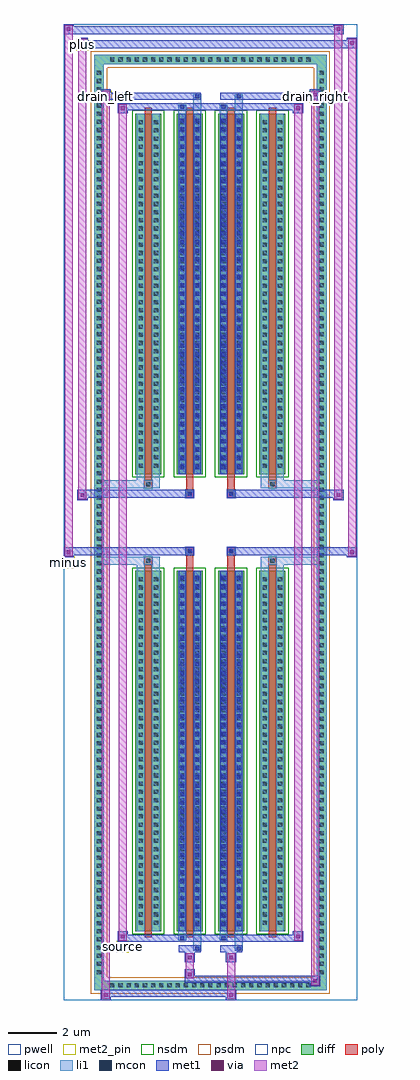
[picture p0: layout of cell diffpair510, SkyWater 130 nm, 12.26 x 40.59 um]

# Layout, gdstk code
import gdstk
lib = gdstk.Library(unit=1e-6, precision=5e-09)
def R(c, l, rs):  # rectangles x0, y0, x1, y1
    for r in rs: c.add(gdstk.rectangle(r[:2], r[2:], *l))
def A(c, l, x, y, w, h, nx, ny, dx, dy):  # array of equal rectangles
    R(c, l, [(x+i*dx, y+j*dy, x+i*dx+w, y+j*dy+h) for i in range(nx) for j in range(ny)])
def P(c, l, *ps):  # polygons
    for p in ps: c.add(gdstk.Polygon(p, *l))
pwell = (64, 44)
diff = (65, 20)
poly = (66, 20)
licon = (66, 44)
li1 = (67, 20)
mcon = (67, 44)
met1 = (68, 20)
via = (68, 44)
met2_pin = (69, 16)
met2 = (69, 20)
nsdm = (93, 44)
psdm = (94, 20)
npc = (95, 20)

diffpair510 = lib.new_cell('diffpair510')
R(diffpair510, pwell, [(-6.11,-19.86,6.11,20.73), (-3.43,-18.05,-0.01,-0.825), (0.01,-18.05,3.43,-0.825), (-3.43,0.825,-0.01,18.05), (0.01,0.825,3.43,18.05)])
A(diffpair510, diff, -4.285, -19.46, 0.41, 0.41, 25, 2, 0.34, 38.51)
A(diffpair510, diff, -4.84, -18.905, 0.41, 0.41, 1, 111, 0, 0.34)
A(diffpair510, diff, 4.43, -18.905, 0.41, 0.41, 1, 111, 0, 0.34)
A(diffpair510, diff, -3.12, -17.005, 1.08, 15, 4, 2, 1.72, 19.01)
R(diffpair510, diff, [(-4.285,-19.46,4.285,-19.05), (-4.84,-18.905,-4.43,18.905), (4.43,-18.905,4.84,18.905), (-4.285,19.05,4.285,19.46)])
P(diffpair510, diff, [(4.84,19.46),(-4.84,19.46),(-4.84,-19.05),(-4.43,-19.05),(-4.43,19.05),(4.43,19.05),(4.43,-19.05),(-4.43,-19.05),(-4.84,-19.05),(-4.84,-19.46),(4.84,-19.46)])
A(diffpair510, poly, -2.73, -17.255, 0.3, 15.5, 4, 2, 1.72, 19.01)
R(diffpair510, poly, [(-2.745,-1.755,-2.415,-1.425), (-2.745,-1.755,-2.415,-1.425), (-1.01,-1.755,-0.71,-1.355), (0.71,-1.755,1.01,-1.355), (2.415,-1.755,2.745,-1.425), (2.415,-1.755,2.745,-1.425), (-1.025,-1.355,-0.695,-1.025), (-1.025,-1.355,-0.695,-1.025), (0.695,-1.355,1.025,-1.025), (0.695,-1.355,1.025,-1.025), (-1.025,1.025,-0.695,1.355), (-1.025,1.025,-0.695,1.355), (0.695,1.025,1.025,1.355), (0.695,1.025,1.025,1.355), (-1.01,1.355,-0.71,1.755), (0.71,1.355,1.01,1.755), (-2.745,1.425,-2.415,1.755), (-2.745,1.425,-2.415,1.755), (2.415,1.425,2.745,1.755), (2.415,1.425,2.745,1.755)])
A(diffpair510, licon, -4.165, -19.34, 0.17, 0.17, 25, 2, 0.34, 38.51)
A(diffpair510, licon, -4.72, -18.785, 0.17, 0.17, 1, 111, 0, 0.34)
A(diffpair510, licon, 4.55, -18.785, 0.17, 0.17, 1, 111, 0, 0.34)
A(diffpair510, licon, -2.98, -16.73, 0.17, 0.17, 1, 43, 0, 0.34)
A(diffpair510, licon, -2.35, -16.73, 0.17, 0.17, 1, 43, 0, 0.34)
A(diffpair510, licon, -1.26, -16.73, 0.17, 0.17, 1, 43, 0, 0.34)
A(diffpair510, licon, -0.63, -16.73, 0.17, 0.17, 1, 43, 0, 0.34)
A(diffpair510, licon, 0.46, -16.73, 0.17, 0.17, 1, 43, 0, 0.34)
A(diffpair510, licon, 1.09, -16.73, 0.17, 0.17, 1, 43, 0, 0.34)
A(diffpair510, licon, 2.18, -16.73, 0.17, 0.17, 1, 43, 0, 0.34)
A(diffpair510, licon, 2.81, -16.73, 0.17, 0.17, 1, 43, 0, 0.34)
A(diffpair510, licon, -2.98, 2.28, 0.17, 0.17, 1, 43, 0, 0.34)
A(diffpair510, licon, -2.35, 2.28, 0.17, 0.17, 1, 43, 0, 0.34)
A(diffpair510, licon, -1.26, 2.28, 0.17, 0.17, 1, 43, 0, 0.34)
A(diffpair510, licon, -0.63, 2.28, 0.17, 0.17, 1, 43, 0, 0.34)
A(diffpair510, licon, 0.46, 2.28, 0.17, 0.17, 1, 43, 0, 0.34)
A(diffpair510, licon, 1.09, 2.28, 0.17, 0.17, 1, 43, 0, 0.34)
A(diffpair510, licon, 2.18, 2.28, 0.17, 0.17, 1, 43, 0, 0.34)
A(diffpair510, licon, 2.81, 2.28, 0.17, 0.17, 1, 43, 0, 0.34)
R(diffpair510, licon, [(-2.665,-1.675,-2.495,-1.505), (2.495,-1.675,2.665,-1.505), (-0.945,-1.275,-0.775,-1.105), (0.775,-1.275,0.945,-1.105), (-0.945,1.105,-0.775,1.275), (0.775,1.105,0.945,1.275), (-2.665,1.505,-2.495,1.675), (2.495,1.505,2.665,1.675)])
A(diffpair510, li1, -4.245, -19.42, 0.33, 0.33, 25, 2, 0.34, 38.51)
A(diffpair510, li1, -4.8, -18.865, 0.33, 0.33, 1, 111, 0, 0.34)
A(diffpair510, li1, 4.47, -18.865, 0.33, 0.33, 1, 111, 0, 0.34)
A(diffpair510, li1, -3.06, -16.81, 0.33, 0.33, 1, 43, 0, 0.34)
A(diffpair510, li1, -2.43, -16.81, 0.33, 0.33, 1, 43, 0, 0.34)
A(diffpair510, li1, -1.34, -16.81, 0.33, 0.33, 1, 43, 0, 0.34)
A(diffpair510, li1, -0.71, -16.81, 0.33, 0.33, 1, 43, 0, 0.34)
A(diffpair510, li1, 0.38, -16.81, 0.33, 0.33, 1, 43, 0, 0.34)
A(diffpair510, li1, 1.01, -16.81, 0.33, 0.33, 1, 43, 0, 0.34)
A(diffpair510, li1, 2.1, -16.81, 0.33, 0.33, 1, 43, 0, 0.34)
A(diffpair510, li1, 2.73, -16.81, 0.33, 0.33, 1, 43, 0, 0.34)
A(diffpair510, li1, -1.26, -16.79, 0.17, 0.17, 1, 41, 0, 0.36)
A(diffpair510, li1, -0.63, -16.79, 0.17, 0.17, 1, 41, 0, 0.36)
A(diffpair510, li1, 0.46, -16.79, 0.17, 0.17, 1, 41, 0, 0.36)
A(diffpair510, li1, 1.09, -16.79, 0.17, 0.17, 1, 41, 0, 0.36)
A(diffpair510, li1, -3.06, 2.2, 0.33, 0.33, 1, 43, 0, 0.34)
A(diffpair510, li1, -2.43, 2.2, 0.33, 0.33, 1, 43, 0, 0.34)
A(diffpair510, li1, -1.34, 2.2, 0.33, 0.33, 1, 43, 0, 0.34)
A(diffpair510, li1, -0.71, 2.2, 0.33, 0.33, 1, 43, 0, 0.34)
A(diffpair510, li1, 0.38, 2.2, 0.33, 0.33, 1, 43, 0, 0.34)
A(diffpair510, li1, 1.01, 2.2, 0.33, 0.33, 1, 43, 0, 0.34)
A(diffpair510, li1, 2.1, 2.2, 0.33, 0.33, 1, 43, 0, 0.34)
A(diffpair510, li1, 2.73, 2.2, 0.33, 0.33, 1, 43, 0, 0.34)
A(diffpair510, li1, -1.26, 2.22, 0.17, 0.17, 1, 41, 0, 0.36)
A(diffpair510, li1, -0.63, 2.22, 0.17, 0.17, 1, 41, 0, 0.36)
A(diffpair510, li1, 0.46, 2.22, 0.17, 0.17, 1, 41, 0, 0.36)
A(diffpair510, li1, 1.09, 2.22, 0.17, 0.17, 1, 41, 0, 0.36)
R(diffpair510, li1, [(-4.84,-19.46,-4.43,-19.05), (-4.84,-19.46,-4.43,-19.05), (-4.43,-19.46,4.43,-19.05), (4.43,-19.46,4.84,-19.05), (4.43,-19.46,4.84,-19.05), (-4.84,-19.05,-4.43,19.05), (4.43,-19.05,4.84,19.05), (-0.71,-17.81,-0.38,-17.005), (-0.63,-17.81,-0.46,-17.64), (1.01,-17.81,1.34,-17.005), (1.09,-17.81,1.26,-17.64), (-1.34,-17.38,-1.01,-17.005), (-1.26,-17.38,-1.09,-17.21), (0.38,-17.38,0.71,-17.005), (0.46,-17.38,0.63,-17.21), (-3.06,-17.005,-2.73,-2.005), (-2.43,-17.005,-2.1,-2.005), (-1.34,-17.005,-1.01,-2.005), (-0.71,-17.005,-0.38,-2.005), (0.38,-17.005,0.71,-2.005), (1.01,-17.005,1.34,-2.005), (2.1,-17.005,2.43,-2.005), (2.73,-17.005,3.06,-2.005), (-1.26,-16.79,-1.09,-2.22), (-0.63,-16.79,-0.46,-2.22), (0.46,-16.79,0.63,-2.22), (1.09,-16.79,1.26,-2.22), (-3.06,-2.005,-2.73,-1.425), (-2.43,-2.005,-2.1,-1.425), (2.1,-2.005,2.43,-1.425), (2.73,-2.005,3.06,-1.425), (-4.84,-1.755,-2.745,-1.425), (-3.06,-1.755,-2.745,-1.425), (-2.745,-1.755,-2.415,-1.425), (-2.415,-1.755,-2.1,-1.425), (2.1,-1.755,2.415,-1.425), (2.415,-1.755,2.745,-1.425), (2.415,-1.755,4.84,-1.425), (2.745,-1.755,3.06,-1.425), (-1.025,-1.355,-0.695,-1.025), (0.695,-1.355,1.025,-1.025), (-1.025,1.025,-0.695,1.355), (0.695,1.025,1.025,1.355), (-4.84,1.425,-2.745,1.755), (-3.06,1.425,-2.745,1.755), (-3.06,1.425,-2.73,2.005), (-2.745,1.425,-2.415,1.755), (-2.43,1.425,-2.1,2.005), (-2.415,1.425,-2.1,1.755), (2.1,1.425,2.415,1.755), (2.1,1.425,2.43,2.005), (2.415,1.425,2.745,1.755), (2.415,1.425,4.84,1.755), (2.73,1.425,3.06,2.005), (2.745,1.425,3.06,1.755), (-3.06,2.005,-2.73,17.005), (-2.43,2.005,-2.1,17.005), (-1.34,2.005,-1.01,17.005), (-0.71,2.005,-0.38,17.005), (0.38,2.005,0.71,17.005), (1.01,2.005,1.34,17.005), (2.1,2.005,2.43,17.005), (2.73,2.005,3.06,17.005), (-1.26,2.22,-1.09,16.79), (-0.63,2.22,-0.46,16.79), (0.46,2.22,0.63,16.79), (1.09,2.22,1.26,16.79), (-1.34,17.005,-1.01,17.38), (-0.71,17.005,-0.38,17.81), (0.38,17.005,0.71,17.38), (1.01,17.005,1.34,17.81), (-1.26,17.21,-1.09,17.38), (0.46,17.21,0.63,17.38), (-0.63,17.64,-0.46,17.81), (1.09,17.64,1.26,17.81), (-4.84,19.05,-4.43,19.46), (-4.84,19.05,-4.43,19.46), (-4.43,19.05,4.43,19.46), (4.43,19.05,4.84,19.46), (4.43,19.05,4.84,19.46)])
A(diffpair510, mcon, -1.26, -16.79, 0.17, 0.17, 1, 41, 0, 0.36)
A(diffpair510, mcon, -0.63, -16.79, 0.17, 0.17, 1, 41, 0, 0.36)
A(diffpair510, mcon, 0.46, -16.79, 0.17, 0.17, 1, 41, 0, 0.36)
A(diffpair510, mcon, 1.09, -16.79, 0.17, 0.17, 1, 41, 0, 0.36)
A(diffpair510, mcon, -1.26, 2.22, 0.17, 0.17, 1, 41, 0, 0.36)
A(diffpair510, mcon, -0.63, 2.22, 0.17, 0.17, 1, 41, 0, 0.36)
A(diffpair510, mcon, 0.46, 2.22, 0.17, 0.17, 1, 41, 0, 0.36)
A(diffpair510, mcon, 1.09, 2.22, 0.17, 0.17, 1, 41, 0, 0.36)
R(diffpair510, mcon, [(-0.63,-17.81,-0.46,-17.64), (1.09,-17.81,1.26,-17.64), (-1.26,-17.38,-1.09,-17.21), (0.46,-17.38,0.63,-17.21), (-0.945,-1.275,-0.775,-1.105), (0.775,-1.275,0.945,-1.105), (-0.945,1.105,-0.775,1.275), (0.775,1.105,0.945,1.275), (-1.26,17.21,-1.09,17.38), (0.46,17.21,0.63,17.38), (-0.63,17.64,-0.46,17.81), (1.09,17.64,1.26,17.81)])
A(diffpair510, met1, -1.32, -16.85, 0.29, 0.29, 1, 41, 0, 0.36)
A(diffpair510, met1, -0.69, -16.85, 0.29, 0.29, 1, 41, 0, 0.36)
A(diffpair510, met1, 0.4, -16.85, 0.29, 0.29, 1, 41, 0, 0.36)
A(diffpair510, met1, 1.03, -16.85, 0.29, 0.29, 1, 41, 0, 0.36)
A(diffpair510, met1, -1.32, 2.16, 0.29, 0.29, 1, 41, 0, 0.36)
A(diffpair510, met1, -0.69, 2.16, 0.29, 0.29, 1, 41, 0, 0.36)
A(diffpair510, met1, 0.4, 2.16, 0.29, 0.29, 1, 41, 0, 0.36)
A(diffpair510, met1, 1.03, 2.16, 0.29, 0.29, 1, 41, 0, 0.36)
R(diffpair510, met1, [(-4.57,-19.86,-4.14,-19.43), (0.645,-19.86,1.075,-19.43), (-4.57,-19.72,1.075,-19.43), (4.14,-19.29,4.57,-18.86), (-1.075,-19.15,4.57,-18.86), (-1.075,-19.01,-0.645,-18.58), (-1.075,-18.3,-0.645,-17.87), (0.645,-18.3,1.075,-17.87), (-1.32,-17.87,-0.4,-17.58), (-0.69,-17.87,-0.4,-17.58), (0.4,-17.87,1.32,-17.58), (1.03,-17.87,1.32,-17.58), (-3.86,-17.44,-3.43,-17.01), (-3.86,-17.44,-1.32,-17.15), (-1.32,-17.44,-1.03,-17.15), (-1.32,-17.44,-0.4,-17.15), (-0.4,-17.44,0.4,-17.15), (0.4,-17.44,0.69,-17.15), (0.4,-17.44,1.32,-17.15), (1.32,-17.44,3.86,-17.15), (3.43,-17.44,3.86,-17.01), (-1.32,-17.005,-1.03,-2.005), (-0.69,-17.005,-0.4,-2.005), (0.4,-17.005,0.69,-2.005), (1.03,-17.005,1.32,-2.005), (-6.11,-1.455,-5.68,-1.025), (5.68,-1.455,6.11,-1.025), (-6.11,-1.355,-0.695,-1.025), (-1.025,-1.355,-0.695,-1.025), (0.695,-1.355,1.025,-1.025), (0.695,-1.355,6.11,-1.025), (-1.005,-1.335,-0.715,-1.045), (0.715,-1.335,1.005,-1.045), (-5.54,0.925,-5.11,1.355), (5.11,0.925,5.54,1.355), (-5.54,1.025,-1.025,1.355), (-1.025,1.025,-0.695,1.355), (0.695,1.025,1.025,1.355), (1.025,1.025,5.54,1.355), (-1.005,1.045,-0.715,1.335), (0.715,1.045,1.005,1.335), (-1.32,2.005,-1.03,17.005), (-0.69,2.005,-0.4,17.005), (0.4,2.005,0.69,17.005), (1.03,2.005,1.32,17.005), (-3.86,17.01,-3.43,17.44), (3.43,17.01,3.86,17.44), (-3.86,17.15,-1.32,17.44), (-1.32,17.15,-1.03,17.44), (-1.32,17.15,-0.4,17.44), (-0.4,17.15,0.4,17.44), (0.4,17.15,0.69,17.44), (0.4,17.15,1.32,17.44), (1.32,17.15,3.86,17.44), (-4.57,17.58,-4.14,18.01), (-4.57,17.58,-1.32,17.87), (-1.32,17.58,-0.4,17.87), (-0.69,17.58,-0.4,17.87), (0.4,17.58,1.32,17.87), (1.03,17.58,1.32,17.87), (1.32,17.58,4.57,17.87), (4.14,17.58,4.57,18.01), (-5.54,19.73,-5.11,20.16), (-5.54,19.73,-3.43,20.06), (-3.43,19.73,3.43,20.06), (3.43,19.73,6.11,20.06), (5.68,19.73,6.11,20.16), (-6.11,20.3,-5.68,20.73), (-6.11,20.3,-3.43,20.63), (-3.43,20.3,3.43,20.63), (3.43,20.3,5.54,20.63), (5.11,20.3,5.54,20.73)])
R(diffpair510, via, [(-4.43,-19.72,-4.28,-19.57), (0.785,-19.72,0.935,-19.57), (4.28,-19.15,4.43,-19), (-0.935,-18.87,-0.785,-18.72), (-0.935,-18.16,-0.785,-18.01), (0.785,-18.16,0.935,-18.01), (-3.72,-17.3,-3.57,-17.15), (3.57,-17.3,3.72,-17.15), (-5.97,-1.315,-5.82,-1.165), (5.82,-1.315,5.97,-1.165), (-5.4,1.065,-5.25,1.215), (5.25,1.065,5.4,1.215), (-3.72,17.15,-3.57,17.3), (3.57,17.15,3.72,17.3), (-4.43,17.72,-4.28,17.87), (4.28,17.72,4.43,17.87), (-5.4,19.87,-5.25,20.02), (5.82,19.87,5.97,20.02), (-5.97,20.44,-5.82,20.59), (5.25,20.44,5.4,20.59)])
R(diffpair510, met2_pin, [(-3.895,-17.89,-3.395,-17.39), (-6.145,-1.905,-5.645,-1.405), (-4.605,17.46,-4.105,17.96), (4.105,17.46,4.605,17.96), (-5.575,19.61,-5.075,20.11)])
R(diffpair510, met2, [(-4.52,-19.81,-4.19,-19.48), (-4.52,-19.81,-4.19,17.96), (0.695,-19.81,1.025,-19.48), (0.695,-19.48,1.025,-18.25), (4.19,-19.24,4.52,-18.91), (4.19,-19.24,4.52,17.96), (-1.025,-18.96,-0.695,-18.63), (-1.025,-18.63,-0.695,-18.25), (-1.025,-18.25,-0.695,-17.92), (0.695,-18.25,1.025,-17.92), (-3.81,-17.39,-3.48,-17.06), (-3.81,-17.39,-3.48,17.39), (3.48,-17.39,3.81,-17.06), (3.48,-17.39,3.81,17.39), (-6.06,-1.405,-5.73,-1.075), (-6.06,-1.405,-5.73,20.68), (5.73,-1.405,6.06,-1.075), (5.73,-1.405,6.06,20.11), (-5.49,0.975,-5.16,1.305), (-5.49,0.975,-5.16,20.11), (5.16,0.975,5.49,1.305), (5.16,0.975,5.49,20.68), (-3.81,17.06,-3.48,17.39), (3.48,17.06,3.81,17.39), (-4.52,17.63,-4.19,17.96), (4.19,17.63,4.52,17.96), (-5.49,19.78,-5.16,20.11), (5.73,19.78,6.06,20.11), (-6.06,20.35,-5.73,20.68), (5.16,20.35,5.49,20.68)])
P(diffpair510, met2, [(6.06,-1.405),(6.06,-1.405),(6.06,-1.075),(6.06,-1.075)],
  [(6.06,19.78),(6.06,19.78),(6.06,20.11),(6.06,20.11)],
  [(-5.73,-1.405),(-5.73,-1.405),(-5.73,-1.075),(-5.73,-1.075)],
  [(-5.73,20.35),(-5.73,20.35),(-5.73,20.68),(-5.73,20.68)],
  [(5.49,0.975),(5.49,0.975),(5.49,1.305),(5.49,1.305)],
  [(5.49,20.35),(5.49,20.35),(5.49,20.68),(5.49,20.68)],
  [(-5.16,0.975),(-5.16,0.975),(-5.16,1.305),(-5.16,1.305)],
  [(-5.16,19.78),(-5.16,19.78),(-5.16,20.11),(-5.16,20.11)],
  [(-4.19,-19.81),(-4.19,-19.81),(-4.19,-19.48),(-4.19,-19.48)],
  [(-4.19,17.63),(-4.19,17.63),(-4.19,17.96),(-4.19,17.96)],
  [(4.52,-19.24),(4.52,-19.24),(4.52,-18.91),(4.52,-18.91)],
  [(4.52,17.63),(4.52,17.63),(4.52,17.96),(4.52,17.96)],
  [(-3.48,-17.39),(-3.48,-17.39),(-3.48,-17.06),(-3.48,-17.06)],
  [(-3.48,17.06),(-3.48,17.06),(-3.48,17.39),(-3.48,17.39)],
  [(3.81,-17.39),(3.81,-17.39),(3.81,-17.06),(3.81,-17.06)],
  [(3.81,17.06),(3.81,17.06),(3.81,17.39),(3.81,17.39)])
A(diffpair510, nsdm, -3.25, -17.135, 1.34, 15.26, 4, 2, 1.72, 19.01)
P(diffpair510, psdm, [(4.97,19.59),(-4.97,19.59),(-4.97,-18.92),(-4.3,-18.92),(-4.3,18.92),(4.3,18.92),(4.3,-18.92),(-4.3,-18.92),(-4.97,-18.92),(-4.97,-19.59),(4.97,-19.59)])
R(diffpair510, npc, [(-2.765,-1.775,-2.395,-1.405), (2.395,-1.775,2.765,-1.405), (-1.045,-1.375,-0.675,-1.005), (0.675,-1.375,1.045,-1.005), (-1.045,1.005,-0.675,1.375), (0.675,1.005,1.045,1.375), (-2.765,1.405,-2.395,1.775), (2.395,1.405,2.765,1.775)])
diffpair510.add(gdstk.Label('minus', (-5.895,-1.655), layer=69, texttype=5))
diffpair510.add(gdstk.Label('drain_right', (4.355,17.71), layer=69, texttype=5))
diffpair510.add(gdstk.Label('drain_left', (-4.355,17.71), layer=69, texttype=5))
diffpair510.add(gdstk.Label('source', (-3.645,-17.64), layer=69, texttype=5))
diffpair510.add(gdstk.Label('plus', (-5.325,19.86), layer=69, texttype=5))

lib.write_gds('diffpair510.gds')
